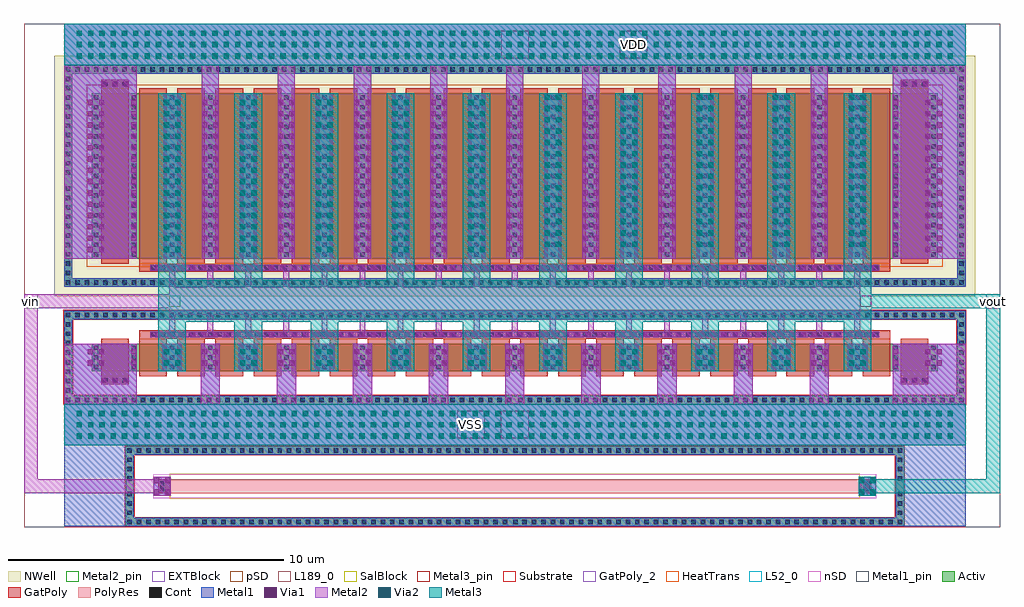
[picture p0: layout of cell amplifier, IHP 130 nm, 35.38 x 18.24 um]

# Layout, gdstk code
from math import pi, radians
import gdstk
lib = gdstk.Library(unit=1e-6, precision=1e-09)
def R(c, l, rs):  # rectangles x0, y0, x1, y1
    for r in rs: c.add(gdstk.rectangle(r[:2], r[2:], *l))
def A(c, l, x, y, w, h, nx, ny, dx, dy):  # array of equal rectangles
    R(c, l, [(x+i*dx, y+j*dy, x+i*dx+w, y+j*dy+h) for i in range(nx) for j in range(ny)])
def P(c, l, *ps):  # polygons
    for p in ps: c.add(gdstk.Polygon(p, *l))
Activ = (1, 0)
GatPoly = (5, 0)
GatPoly_2 = (5, 2)
Cont = (6, 0)
nSD = (7, 0)
Metal1 = (8, 0)
Metal1_pin = (8, 2)
Metal2 = (10, 0)
Metal2_pin = (10, 2)
pSD = (14, 0)
Via1 = (19, 0)
SalBlock = (28, 0)
Via2 = (29, 0)
Metal3 = (30, 0)
Metal3_pin = (30, 2)
NWell = (31, 0)
Substrate = (40, 0)
HeatTrans = (51, 0)
L52_0 = (52, 0)
EXTBlock = (111, 0)
PolyRes = (128, 0)
L189_0 = (189, 0)

pmos = lib.new_cell('pmos')
A(pmos, Activ, 0, 0, 0.3, 0.3, 23, 1, 1.38, 0)
R(pmos, Activ, [(-1.01,-0.71,-0.71,6.71), (31.37,-0.71,31.67,6.71), (0,0,30.66,6), (-1.01,6.71,31.67,7.01)])
P(pmos, Activ, [(-1.01,-1.01),(-1.01,6.71),(-0.71,6.71),(-0.71,-0.71),(31.37,-0.71),(31.37,6.71),(-1.01,6.71),(-1.01,7.01),(31.67,7.01),(31.67,-1.01)])
A(pmos, GatPoly, 0.34, -0.18, 1, 6.36, 22, 1, 1.38, 0)
R(pmos, GatPoly, [(0.34,-0.18,1.34,6.18)])
A(pmos, Cont, -0.94, -0.94, 0.16, 0.16, 48, 2, 0.34, 7.72)
A(pmos, Cont, 15.46, -0.94, 0.16, 0.16, 48, 2, 0.34, 7.72)
A(pmos, Cont, -0.94, -0.6, 0.16, 0.16, 1, 10, 0, 0.34)
A(pmos, Cont, 31.44, -0.6, 0.16, 0.16, 1, 10, 0, 0.34)
A(pmos, Cont, 0.07, 0.07, 0.16, 0.16, 23, 4, 1.38, 0.355)
A(pmos, Cont, 0.07, 1.495, 0.16, 0.16, 23, 4, 1.38, 0.355)
A(pmos, Cont, 0.07, 2.92, 0.16, 0.16, 23, 4, 1.38, 0.355)
A(pmos, Cont, -0.94, 3.04, 0.16, 0.16, 1, 11, 0, 0.34)
A(pmos, Cont, 31.44, 3.04, 0.16, 0.16, 1, 11, 0, 0.34)
A(pmos, Cont, 0.07, 4.345, 0.16, 0.16, 23, 4, 1.38, 0.355)
A(pmos, Cont, 0.07, 5.77, 0.16, 0.16, 23, 1, 1.38, 0)
A(pmos, Metal1, 1.45, 0, 0.16, 6, 22, 1, 1.38, 0)
R(pmos, Metal1, [(-1.01,-1.01,31.67,-0.71), (-1.01,-0.71,-0.71,6.71), (31.37,-0.71,31.67,6.71), (0.07,0,0.23,6), (0.07,0,0.23,6), (1.45,0,1.61,6), (-1.01,6.71,31.67,7.01)])
R(pmos, pSD, [(-0.18,-0.3,30.84,6.3)])
R(pmos, NWell, [(-1.36,-1.36,32.02,7.36), (-0.31,-0.31,30.97,6.31)])
R(pmos, Substrate, [(30.36,0,30.66,0.3)])
A(pmos, HeatTrans, 0.34, -0.18, 1, 6.36, 22, 1, 1.38, 0)
pmos.add(gdstk.Label('pmos', (0.84,3), layer=63, texttype=0))
pmos.add(gdstk.Label('well', (15.33,-0.86), layer=63, texttype=0))
pmos.add(gdstk.Label('pmos', (0.84,3), layer=51, texttype=0))
pmos.add(gdstk.Label('pmos', (2.22,3), layer=51, texttype=0))
pmos.add(gdstk.Label('pmos', (3.6,3), layer=51, texttype=0))
pmos.add(gdstk.Label('pmos', (4.98,3), layer=51, texttype=0))
pmos.add(gdstk.Label('pmos', (6.36,3), layer=51, texttype=0))
pmos.add(gdstk.Label('pmos', (7.74,3), layer=51, texttype=0))
pmos.add(gdstk.Label('pmos', (9.12,3), layer=51, texttype=0))
pmos.add(gdstk.Label('pmos', (10.5,3), layer=51, texttype=0))
pmos.add(gdstk.Label('pmos', (11.88,3), layer=51, texttype=0))
pmos.add(gdstk.Label('pmos', (13.26,3), layer=51, texttype=0))
pmos.add(gdstk.Label('pmos', (14.64,3), layer=51, texttype=0))
pmos.add(gdstk.Label('pmos', (16.02,3), layer=51, texttype=0))
pmos.add(gdstk.Label('pmos', (17.4,3), layer=51, texttype=0))
pmos.add(gdstk.Label('pmos', (18.78,3), layer=51, texttype=0))
pmos.add(gdstk.Label('pmos', (20.16,3), layer=51, texttype=0))
pmos.add(gdstk.Label('pmos', (21.54,3), layer=51, texttype=0))
pmos.add(gdstk.Label('pmos', (22.92,3), layer=51, texttype=0))
pmos.add(gdstk.Label('pmos', (24.3,3), layer=51, texttype=0))
pmos.add(gdstk.Label('pmos', (25.68,3), layer=51, texttype=0))
pmos.add(gdstk.Label('pmos', (27.06,3), layer=51, texttype=0))
pmos.add(gdstk.Label('pmos', (28.44,3), layer=51, texttype=0))
pmos.add(gdstk.Label('pmos', (29.82,3), layer=51, texttype=0))

nmos = lib.new_cell('nmos')
A(nmos, Activ, 0, 0, 0.3, 0.3, 23, 1, 1.38, 0)
R(nmos, Activ, [(-1.01,-0.89,-0.71,1.89), (31.37,-0.89,31.67,1.89), (0,0,30.66,1), (-1.01,1.89,31.67,2.19)])
P(nmos, Activ, [(-1.01,-1.19),(-1.01,1.89),(-0.71,1.89),(-0.71,-0.89),(31.37,-0.89),(31.37,1.89),(-1.01,1.89),(-1.01,2.19),(31.67,2.19),(31.67,-1.19)])
A(nmos, GatPoly, 0.34, -0.18, 1, 1.36, 22, 1, 1.38, 0)
R(nmos, GatPoly_2, [(0.34,-0.18,1.34,1.18)])
A(nmos, Cont, -0.94, -1.12, 0.16, 0.16, 48, 2, 0.34, 3.08)
A(nmos, Cont, 15.46, -1.12, 0.16, 0.16, 48, 2, 0.34, 3.08)
A(nmos, Cont, -0.94, -0.78, 0.16, 0.16, 1, 4, 0, 0.34)
A(nmos, Cont, 31.44, -0.78, 0.16, 0.16, 1, 4, 0, 0.34)
A(nmos, Cont, 0.07, 0.07, 0.16, 0.16, 23, 3, 1.38, 0.35)
A(nmos, Cont, -0.94, 0.6, 0.16, 0.16, 1, 4, 0, 0.34)
A(nmos, Cont, 31.44, 0.6, 0.16, 0.16, 1, 4, 0, 0.34)
A(nmos, Metal1, 0.07, 0, 0.16, 1, 23, 1, 1.38, 0)
R(nmos, Metal1, [(-1.01,-1.19,31.67,-0.89), (-1.01,-0.89,-0.71,1.89), (31.37,-0.89,31.67,1.89), (-1.01,1.89,31.67,2.19)])
R(nmos, Metal1_pin, [(0.07,0,0.23,1), (1.45,0,1.61,1)])
R(nmos, pSD, [(-1.04,-0.86,-0.68,1.86), (31.34,-0.86,31.7,1.86), (-1.04,1.86,31.7,2.22)])
P(nmos, pSD, [(-1.04,-1.22),(-1.04,1.86),(-0.68,1.86),(-0.68,-0.86),(31.34,-0.86),(31.34,1.86),(-1.04,1.86),(-1.04,2.22),(31.7,2.22),(31.7,-1.22)])
R(nmos, Substrate, [(-1.04,-0.86,-0.68,1.86), (31.34,-0.86,31.7,1.86), (-1.04,1.86,31.7,2.22)])
P(nmos, Substrate, [(-1.04,-1.22),(-1.04,1.86),(-0.68,1.86),(-0.68,-0.86),(31.34,-0.86),(31.34,1.86),(-1.04,1.86),(-1.04,2.22),(31.7,2.22),(31.7,-1.22)])
A(nmos, HeatTrans, 0.34, -0.18, 1, 1.36, 22, 1, 1.38, 0)
nmos.add(gdstk.Label('nmos', (0.84,0.5), layer=63, texttype=0))
nmos.add(gdstk.Label('sub!', (15.33,-1.04), layer=63, texttype=0))
nmos.add(gdstk.Label('nmos', (0.84,0.5), layer=51, texttype=0))
nmos.add(gdstk.Label('nmos', (2.22,0.5), layer=51, texttype=0))
nmos.add(gdstk.Label('nmos', (3.6,0.5), layer=51, texttype=0))
nmos.add(gdstk.Label('nmos', (4.98,0.5), layer=51, texttype=0))
nmos.add(gdstk.Label('nmos', (6.36,0.5), layer=51, texttype=0))
nmos.add(gdstk.Label('nmos', (7.74,0.5), layer=51, texttype=0))
nmos.add(gdstk.Label('nmos', (9.12,0.5), layer=51, texttype=0))
nmos.add(gdstk.Label('nmos', (10.5,0.5), layer=51, texttype=0))
nmos.add(gdstk.Label('nmos', (11.88,0.5), layer=51, texttype=0))
nmos.add(gdstk.Label('nmos', (13.26,0.5), layer=51, texttype=0))
nmos.add(gdstk.Label('nmos', (14.64,0.5), layer=51, texttype=0))
nmos.add(gdstk.Label('nmos', (16.02,0.5), layer=51, texttype=0))
nmos.add(gdstk.Label('nmos', (17.4,0.5), layer=51, texttype=0))
nmos.add(gdstk.Label('nmos', (18.78,0.5), layer=51, texttype=0))
nmos.add(gdstk.Label('nmos', (20.16,0.5), layer=51, texttype=0))
nmos.add(gdstk.Label('nmos', (21.54,0.5), layer=51, texttype=0))
nmos.add(gdstk.Label('nmos', (22.92,0.5), layer=51, texttype=0))
nmos.add(gdstk.Label('nmos', (24.3,0.5), layer=51, texttype=0))
nmos.add(gdstk.Label('nmos', (25.68,0.5), layer=51, texttype=0))
nmos.add(gdstk.Label('nmos', (27.06,0.5), layer=51, texttype=0))
nmos.add(gdstk.Label('nmos', (28.44,0.5), layer=51, texttype=0))
nmos.add(gdstk.Label('nmos', (29.82,0.5), layer=51, texttype=0))

via_stack = lib.new_cell('via_stack')
R(via_stack, Metal1, [(-15.93,-0.515,15.93,0.515)])
R(via_stack, Metal2, [(-15.93,-0.51,15.93,0.51)])
A(via_stack, Via1, -15.88, -0.505, 0.19, 0.19, 78, 3, 0.41, 0.41)
A(via_stack, Via2, -15.88, -0.505, 0.19, 0.19, 78, 3, 0.41, 0.41)
R(via_stack, Metal3, [(-15.93,-0.51,15.93,0.51)])

via_stack_1 = lib.new_cell('via_stack$1')
R(via_stack_1, GatPoly, [(-13.24,-0.15,13.24,0.15)])
A(via_stack_1, Cont, -13.17, -0.08, 0.16, 0.16, 78, 1, 0.34, 0)
R(via_stack_1, Metal1, [(-13.22,-0.08,13.22,0.08)])

via_stack_2 = lib.new_cell('via_stack$2')
R(via_stack_2, Metal1, [(-13.06,-0.105,13.06,0.105)])
R(via_stack_2, Metal2, [(-13.06,-0.1,13.06,0.1)])
A(via_stack_2, Via1, -13.01, -0.095, 0.19, 0.19, 64, 1, 0.41, 0)

via_stack_3 = lib.new_cell('via_stack$3')
R(via_stack_3, Metal1, [(-0.35,-0.31,0.35,0.31)])
R(via_stack_3, Metal2, [(-0.35,-0.305,0.35,0.305)])
R(via_stack_3, Via1, [(-0.3,-0.3,-0.11,-0.11), (0.11,-0.3,0.3,-0.11), (-0.3,0.11,-0.11,0.3), (0.11,0.11,0.3,0.3)])

via_stack_4 = lib.new_cell('via_stack$4')
R(via_stack_4, Metal1, [(-0.31,-2.81,0.31,2.81)])
R(via_stack_4, Metal2, [(-0.305,-2.81,0.305,2.81)])
A(via_stack_4, Via1, -0.3, -2.76, 0.19, 0.19, 1, 14, 0, 0.41)
A(via_stack_4, Via1, 0.11, -2.76, 0.19, 0.19, 1, 14, 0, 0.41)
A(via_stack_4, Via2, -0.3, -2.76, 0.19, 0.19, 1, 14, 0, 0.41)
A(via_stack_4, Via2, 0.11, -2.76, 0.19, 0.19, 1, 14, 0, 0.41)
R(via_stack_4, Metal3, [(-0.305,-2.81,0.305,2.81)])

via_stack_5 = lib.new_cell('via_stack$5')
R(via_stack_5, Metal1, [(-0.35,-0.31,0.35,0.31)])
R(via_stack_5, Metal2, [(-0.35,-0.305,0.35,0.305)])
R(via_stack_5, Via1, [(-0.3,-0.3,-0.11,-0.11), (0.11,-0.3,0.3,-0.11), (-0.3,0.11,-0.11,0.3), (0.11,0.11,0.3,0.3)])
R(via_stack_5, Via2, [(-0.3,-0.3,-0.11,-0.11), (0.11,-0.3,0.3,-0.11), (-0.3,0.11,-0.11,0.3), (0.11,0.11,0.3,0.3)])
R(via_stack_5, Metal3, [(-0.35,-0.305,0.35,0.305)])

via_stack_6 = lib.new_cell('via_stack$6')
R(via_stack_6, Metal1, [(-0.105,-0.35,0.105,0.35)])
R(via_stack_6, Metal2, [(-0.1,-0.35,0.1,0.35)])
R(via_stack_6, Via1, [(-0.095,-0.3,0.095,-0.11), (-0.095,0.11,0.095,0.3)])

via_stack_7 = lib.new_cell('via_stack$7')
R(via_stack_7, Metal1, [(-0.31,-2.81,0.31,2.81)])
R(via_stack_7, Metal2, [(-0.305,-2.81,0.305,2.81)])
A(via_stack_7, Via1, -0.3, -2.76, 0.19, 0.19, 1, 14, 0, 0.41)
A(via_stack_7, Via1, 0.11, -2.76, 0.19, 0.19, 1, 14, 0, 0.41)

via_stack_8 = lib.new_cell('via_stack$8')
R(via_stack_8, Metal1, [(-0.105,-2.81,0.105,2.81)])
R(via_stack_8, Metal2, [(-0.1,-2.81,0.1,2.81)])
A(via_stack_8, Via1, -0.095, -2.76, 0.19, 0.19, 1, 14, 0, 0.41)

via_stack_9 = lib.new_cell('via_stack$9')
R(via_stack_9, GatPoly, [(-0.49,-0.15,0.49,0.15)])
A(via_stack_9, Cont, -0.42, -0.08, 0.16, 0.16, 3, 1, 0.34, 0)
R(via_stack_9, Metal1, [(-0.555,-0.105,0.555,0.105)])
R(via_stack_9, Metal2, [(-0.555,-0.1,0.555,0.1)])
A(via_stack_9, Via1, -0.505, -0.095, 0.19, 0.19, 3, 1, 0.41, 0)

inverter = lib.new_cell('inverter')
R(inverter, GatPoly, [(1.7,2.21,2.7,2.51), (30.68,2.21,31.68,2.51), (3.08,3.87,30.3,4.17), (3.08,6.29,30.3,6.59), (1.7,12.95,2.7,13.25), (30.68,12.95,31.68,13.25)])
A(inverter, Metal1, 5.3, 1.5, 0.7, 2.19, 9, 1, 2.76, 0)
A(inverter, Metal1, 3.92, 2.69, 0.7, 1, 19, 1, 1.38, 0)
A(inverter, Metal1, 3.96, 6.77, 0.62, 6, 19, 1, 1.38, 0)
A(inverter, Metal1, 5.34, 6.77, 0.62, 7.01, 9, 1, 2.76, 0)
R(inverter, Metal1, [(0.35,0,33.03,1.5), (0.35,1.5,2.995,3.69), (30.385,1.5,33.03,3.69), (1.645,2.21,2.755,2.51), (30.625,2.21,31.735,2.51), (1.16,2.69,1.86,3.69), (31.52,2.69,32.22,3.69), (3.47,3.915,29.91,4.125), (3.47,6.335,29.91,6.545), (0.35,6.77,2.995,13.78), (1.2,6.77,1.82,12.77), (2.785,6.77,2.995,12.77), (30.385,6.77,33.03,13.78), (30.385,6.77,30.595,12.77), (31.56,6.77,32.18,12.77), (1.645,12.95,2.755,13.25), (30.625,12.95,31.735,13.25), (0.35,13.78,33.03,15.28)])
A(inverter, Metal2, 5.3, 1.5, 0.7, 2.19, 9, 1, 2.76, 0)
A(inverter, Metal2, 3.92, 2.69, 0.7, 1, 19, 1, 1.38, 0)
A(inverter, Metal2, 4.165, 4.12, 0.21, 2.22, 19, 1, 1.38, 0)
A(inverter, Metal2, 3.96, 6.77, 0.62, 6, 19, 1, 1.38, 0)
A(inverter, Metal2, 5.34, 6.77, 0.62, 7.01, 9, 1, 2.76, 0)
R(inverter, Metal2, [(0.35,0,33.03,1.5), (0.35,1.5,2.995,3.69), (30.385,1.5,33.03,3.69), (1.645,2.21,2.755,2.51), (30.625,2.21,31.735,2.51), (1.16,2.69,1.86,3.69), (31.52,2.69,32.22,3.69), (3.47,3.915,29.91,4.125), (4.165,4.73,29.215,5.73), (3.47,6.335,29.91,6.545), (0.35,6.77,2.995,13.78), (1.2,6.77,1.82,12.77), (2.785,6.77,2.995,12.77), (30.385,6.77,33.03,13.78), (30.385,6.77,30.595,12.77), (31.56,6.77,32.18,12.77), (1.645,12.95,2.755,13.25), (30.625,12.95,31.735,13.25), (0.35,13.78,33.03,15.28)])
R(inverter, Metal2_pin, [(4.165,5.03,4.565,5.43)])
A(inverter, Metal3, 3.77, 2.69, 1, 10.08, 10, 1, 2.76, 0)
R(inverter, Metal3, [(0.35,0,33.03,1.5), (3.77,4.48,29.61,5.98), (17.57,4.48,29.61,5.98), (0.35,13.78,33.03,15.28)])
R(inverter, Metal3_pin, [(16.19,0.26,17.19,1.26), (29.21,5.03,29.61,5.43), (16.2,14.03,17.2,15.03)])
inverter.add(gdstk.Reference(pmos, (1.36,6.77)))
inverter.add(gdstk.Reference(nmos, (1.36,2.69)))
inverter.add(gdstk.Reference(via_stack, (16.69,14.53)))
inverter.add(gdstk.Reference(via_stack_1, (16.69,6.44)))
inverter.add(gdstk.Reference(via_stack_2, (16.69,6.44)))
inverter.add(gdstk.Reference(via_stack_3, (11.17,3.19)))
inverter.add(gdstk.Reference(via_stack_4, (4.27,9.77)))
inverter.add(gdstk.Reference(via_stack_1, (16.69,4.02)))
inverter.add(gdstk.Reference(via_stack_5, (4.27,3.19)))
inverter.add(gdstk.Reference(via_stack_5, (7.03,3.19)))
inverter.add(gdstk.Reference(via_stack_3, (31.87,3.19)))
inverter.add(gdstk.Reference(via_stack_3, (8.41,3.19)))
inverter.add(gdstk.Reference(via_stack_3, (5.65,3.19)))
inverter.add(gdstk.Reference(via_stack_6, (30.49,3.19)))
inverter.add(gdstk.Reference(via_stack_3, (1.51,3.19)))
inverter.add(gdstk.Reference(via_stack_5, (9.79,3.19)))
inverter.add(gdstk.Reference(via_stack_6, (2.89,3.19)))
inverter.add(gdstk.Reference(via_stack_7, (31.87,9.77)))
inverter.add(gdstk.Reference(via_stack_4, (9.79,9.77)))
inverter.add(gdstk.Reference(via_stack_8, (30.49,9.77)))
inverter.add(gdstk.Reference(via_stack_8, (2.89,9.77)))
inverter.add(gdstk.Reference(via_stack_7, (1.51,9.77)))
inverter.add(gdstk.Reference(via_stack_4, (7.03,9.77)))
inverter.add(gdstk.Reference(via_stack_7, (5.65,9.77)))
inverter.add(gdstk.Reference(via_stack_7, (8.41,9.77)))
inverter.add(gdstk.Reference(via_stack_9, (2.2,2.36)))
inverter.add(gdstk.Reference(via_stack_9, (31.18,2.36)))
inverter.add(gdstk.Reference(via_stack_9, (2.2,13.1)))
inverter.add(gdstk.Reference(via_stack_9, (31.18,13.1)))
inverter.add(gdstk.Reference(via_stack_4, (12.55,9.77)))
inverter.add(gdstk.Reference(via_stack_2, (16.69,4.02)))
inverter.add(gdstk.Reference(via_stack_5, (12.55,3.19)))
inverter.add(gdstk.Reference(via_stack_5, (15.31,3.19)))
inverter.add(gdstk.Reference(via_stack_3, (13.93,3.19)))
inverter.add(gdstk.Reference(via_stack_4, (15.31,9.77)))
inverter.add(gdstk.Reference(via_stack_7, (11.17,9.77)))
inverter.add(gdstk.Reference(via_stack_7, (13.93,9.77)))
inverter.add(gdstk.Reference(via_stack_7, (19.45,9.77)))
inverter.add(gdstk.Reference(via_stack_3, (22.21,3.19)))
inverter.add(gdstk.Reference(via_stack_4, (18.07,9.96)))
inverter.add(gdstk.Reference(via_stack_5, (29.11,3.19)))
inverter.add(gdstk.Reference(via_stack_5, (18.07,3.19)))
inverter.add(gdstk.Reference(via_stack_3, (19.45,3.19)))
inverter.add(gdstk.Reference(via_stack_3, (16.69,3.19)))
inverter.add(gdstk.Reference(via_stack_5, (20.83,3.19)))
inverter.add(gdstk.Reference(via_stack_4, (23.59,9.96)))
inverter.add(gdstk.Reference(via_stack_4, (20.83,9.96)))
inverter.add(gdstk.Reference(via_stack_7, (16.69,9.77)))
inverter.add(gdstk.Reference(via_stack_4, (26.35,9.96)))
inverter.add(gdstk.Reference(via_stack_5, (23.59,3.19)))
inverter.add(gdstk.Reference(via_stack_7, (24.97,9.77)))
inverter.add(gdstk.Reference(via_stack_3, (27.73,3.19)))
inverter.add(gdstk.Reference(via_stack_5, (26.35,3.19)))
inverter.add(gdstk.Reference(via_stack_3, (24.97,3.19)))
inverter.add(gdstk.Reference(via_stack_4, (29.11,9.96)))
inverter.add(gdstk.Reference(via_stack_7, (22.21,9.77)))
inverter.add(gdstk.Reference(via_stack_7, (27.73,9.77)))
inverter.add(gdstk.Reference(via_stack, (16.69,0.75)))
inverter.add(gdstk.Label('vin', (4.365,5.23), layer=10, texttype=25))
inverter.add(gdstk.Label('VDD', (16.7,14.53), layer=30, texttype=25))
inverter.add(gdstk.Label('VSS', (16.69,0.76), layer=30, texttype=25))
inverter.add(gdstk.Label('vout', (29.41,5.23), layer=30, texttype=25))

rhigh = lib.new_cell('rhigh')
R(rhigh, Activ, [(-1.2,-1.31,-0.9,26.31), (1.4,-1.31,1.7,26.31), (-1.2,26.31,1.7,26.61)])
P(rhigh, Activ, [(-1.2,-1.61),(-1.2,26.31),(-0.9,26.31),(-0.9,-1.31),(1.4,-1.31),(1.4,26.31),(-1.2,26.31),(-1.2,26.61),(1.7,26.61),(1.7,-1.61)])
R(rhigh, GatPoly, [(0,-0.43,0.5,0), (0,25,0.5,25.43)])
A(rhigh, Cont, -1.13, -1.54, 0.16, 0.16, 4, 2, 0.34, 27.92)
A(rhigh, Cont, 0.45, -1.54, 0.16, 0.16, 4, 2, 0.34, 27.92)
A(rhigh, Cont, -1.13, -1.2, 0.16, 0.16, 1, 40, 0, 0.34)
A(rhigh, Cont, 1.47, -1.2, 0.16, 0.16, 1, 40, 0, 0.34)
A(rhigh, Cont, -1.13, 12.44, 0.16, 0.16, 1, 41, 0, 0.34)
A(rhigh, Cont, 1.47, 12.44, 0.16, 0.16, 1, 41, 0, 0.34)
R(rhigh, Cont, [(0.07,-0.36,0.43,-0.2), (0.07,25.2,0.43,25.36)])
R(rhigh, nSD, [(-0.18,-0.61,0.68,0.18), (-0.18,0,0.68,25), (-0.18,0,0.68,25), (-0.18,24.82,0.68,25.61)])
R(rhigh, Metal1, [(-1.2,-1.61,1.7,-1.31), (-1.2,-1.31,-0.9,26.31), (1.4,-1.31,1.7,26.31), (0.02,-0.41,0.48,-0.15), (0.02,25.15,0.48,25.41), (-1.2,26.31,1.7,26.61)])
R(rhigh, Metal1_pin, [(0.02,-0.41,0.48,-0.15), (0.02,25.15,0.48,25.41)])
R(rhigh, pSD, [(-1.23,-1.28,-0.87,26.28), (1.37,-1.28,1.73,26.28), (-0.18,-0.61,0.68,0.18), (-0.18,0,0.68,25), (-0.18,0,0.68,25), (-0.18,24.82,0.68,25.61), (-1.23,26.28,1.73,26.64)])
P(rhigh, pSD, [(-1.23,-1.64),(-1.23,26.28),(-0.87,26.28),(-0.87,-1.28),(1.37,-1.28),(1.37,26.28),(-1.23,26.28),(-1.23,26.64),(1.73,26.64),(1.73,-1.64)])
R(rhigh, SalBlock, [(-0.2,0,0.7,25)])
R(rhigh, Substrate, [(-1.23,-1.28,-0.87,26.28), (1.37,-1.28,1.73,26.28), (-1.23,26.28,1.73,26.64)])
P(rhigh, Substrate, [(-1.23,-1.64),(-1.23,26.28),(-0.87,26.28),(-0.87,-1.28),(1.37,-1.28),(1.37,26.28),(-1.23,26.28),(-1.23,26.64),(1.73,26.64),(1.73,-1.64)])
R(rhigh, L52_0, [(0,0,0.5,25)])
R(rhigh, EXTBlock, [(-0.18,-0.61,0.68,0.18), (-0.2,0,0.7,25), (-0.18,24.82,0.68,25.61)])
R(rhigh, PolyRes, [(0,0,0.5,25)])
rhigh.add(gdstk.Label('rhigh r=74233.043', (0.25,12.5), layer=63, texttype=0))
rhigh.add(gdstk.Label('sub!', (0.25,-1.46), layer=63, texttype=0))
rhigh.add(gdstk.Label('rhigh', (0.25,12.5), layer=52, texttype=0))

via_stack_3_1 = lib.new_cell('via_stack$3$1')
R(via_stack_3_1, Metal1, [(-0.35,-0.31,0.35,0.31)])
R(via_stack_3_1, Metal2, [(-0.35,-0.305,0.35,0.305)])
R(via_stack_3_1, Via1, [(-0.3,-0.3,-0.11,-0.11), (0.11,-0.3,0.3,-0.11), (-0.3,0.11,-0.11,0.3), (0.11,0.11,0.3,0.3)])

via_stack_5_1 = lib.new_cell('via_stack$5$1')
R(via_stack_5_1, Metal1, [(-0.35,-0.31,0.35,0.31)])
R(via_stack_5_1, Metal2, [(-0.35,-0.305,0.35,0.305)])
R(via_stack_5_1, Via1, [(-0.3,-0.3,-0.11,-0.11), (0.11,-0.3,0.3,-0.11), (-0.3,0.11,-0.11,0.3), (0.11,0.11,0.3,0.3)])
R(via_stack_5_1, Via2, [(-0.3,-0.3,-0.11,-0.11), (0.11,-0.3,0.3,-0.11), (-0.3,0.11,-0.11,0.3), (0.11,0.11,0.3,0.3)])
R(via_stack_5_1, Metal3, [(-0.35,-0.305,0.35,0.305)])

amplifier = lib.new_cell('amplifier')
R(amplifier, Metal1, [(0.35,-2.93,2.58,0), (30.8,-2.93,33.03,0), (2.58,-0.03,30.8,0)])
R(amplifier, Metal2_pin, [(-1.1,4.98,-0.6,5.48)])
R(amplifier, Metal3_pin, [(14.6,0.26,15.6,1.26), (33.78,4.98,34.28,5.48), (20.49,14.04,21.49,15.04)])
R(amplifier, L189_0, [(-1.1,-2.96,34.28,15.28)])
amplifier.add(gdstk.FlexPath([(3.605,-1.48),(-0.85,-1.48),(-0.85,5.23),(4.165,5.23)], 0.5, ends="flush", simple_path=True, layer=10, datatype=0))  # Metal2
amplifier.add(gdstk.FlexPath([(29.775,-1.48),(34.03,-1.48),(34.03,5.23),(29.61,5.23)], 0.5, ends="flush", simple_path=True, layer=30, datatype=0))  # Metal3
amplifier.add(gdstk.Reference(inverter, (0,0)))
amplifier.add(gdstk.Reference(rhigh, (4.19,-1.23), rotation=3*pi/2))
amplifier.add(gdstk.Reference(via_stack_3_1, (3.91,-1.48), rotation=pi/2))
amplifier.add(gdstk.Reference(via_stack_5_1, (29.47,-1.48), rotation=pi/2))
amplifier.add(gdstk.Label('vin', (-0.85,5.23), layer=10, texttype=25))
amplifier.add(gdstk.Label('VDD', (20.99,14.54), layer=30, texttype=25))
amplifier.add(gdstk.Label('VSS', (15.1,0.76), layer=30, texttype=25))
amplifier.add(gdstk.Label('vout', (34.03,5.23), layer=30, texttype=25))

lib.write_gds('amplifier.gds')
